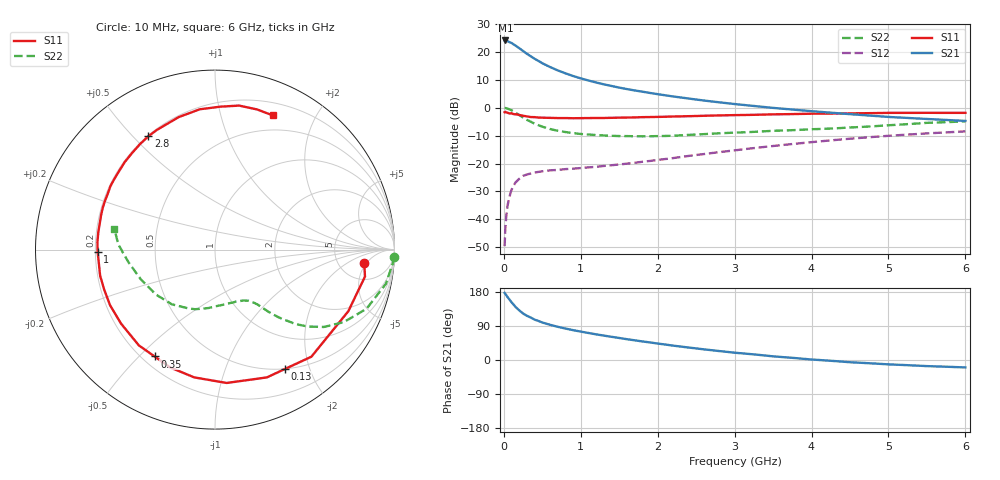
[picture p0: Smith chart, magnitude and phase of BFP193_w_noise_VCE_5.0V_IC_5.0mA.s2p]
! Infineon Technologies  Discrete & RF Semiconductors
! BFP193
! VCE =  5.0 V,  IC =  5.0 mA
! Common Emitter S-Parameters:  Jan 2017
# GHz  S  MA  R  50
!  f  S11  S21  S12  S22
! GHz  MAG  ANG  MAG  ANG  MAG  ANG  MAG  ANG
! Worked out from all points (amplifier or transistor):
!   77 points, 10 MHz to 6 GHz, reference 50 ohm
!   highest |S21| = 24.2 dB at 20 MHz (marker M1)
!   |S21| within 3 dB of that: start of sweep to 211.4 MHz
!   unconditionally stable (mu >= 1): 1.402 GHz to 2.651 GHz
!   at 130 MHz: K = 0.14, MSG = 25.3 dB, |S12| = -27.8 dB
!   at 2.2 GHz: K = 1.06, MAG = 9.5 dB, |S12| = -18.0 dB
!   at 6 GHz: K = 0.86, MSG = 1.9 dB, |S12| = -8.4 dB
!   lowest NFmin = 0.92 dB at 450 MHz
!   S11 on the Smith chart (normalised r, x): 10 MHz: 8.94, -4.37; 130 MHz: 0.50, -1.63; 350 MHz: 0.25, -0.56; 1 GHz: 0.21, -0.01; 2.8 GHz: 0.20, +0.55; 6 GHz: 0.33, +1.47
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0.01  0.8347 -5.1  16.02 177.1  0.0033 89.2  1 -2.3
0.02  0.8491 -10.2  16.2 174.3  0.0072 88.6  0.9929 -4.6
0.05  0.8183 -24.8  15.67 165.5  0.018 77.4  0.9712 -11.3
0.1  0.8028 -48.0  14.62 152.2  0.0339 66.4  0.9065 -21.3
0.13  0.7708 -59.7  13.67 145.4  0.0408 60.0  0.8544 -26.0
0.15  0.7685 -67.9  13.15 140.4  0.0456 56.9  0.8232 -29.4
0.2  0.7459 -85.0  11.78 131.0  0.0534 50.5  0.7442 -35.4
0.25  0.7213 -99.2  10.48 122.7  0.0602 44.9  0.6712 -39.7
0.3  0.7027 -110.8  9.333 116.6  0.0637 40.9  0.61 -42.8
0.35  0.684 -119.5  8.433 112.1  0.0664 38.6  0.5647 -44.6
0.4  0.6817 -128.5  7.599 106.5  0.0692 36.4  0.5201 -46.7
0.5  0.6664 -141.8  6.326 99.0  0.0728 33.3  0.4598 -49.2
0.6  0.6618 -152.1  5.415 92.9  0.0757 32.2  0.4177 -50.8
1  0.654 -178.8  3.386 74.9  0.0832 33.9  0.3399 -56.9
1.1  0.6564 176.2  3.098 71.3  0.0855 35.0  0.3327 -58.8
1.5  0.6674 159.6  2.309 58.1  0.0965 39.4  0.3119 -68.4
2.1  0.6931 139.2  1.68 40.8  0.1209 44.8  0.3134 -86.7
2.8  0.7324 120.5  1.258 23.6  0.1605 46.2  0.3503 -108.6
3.1  0.7442 113.6  1.135 17.5  0.1796 45.1  0.3635 -117.3
4.1  0.7871 94.5  0.851 -0.0  0.2498 37.9  0.4176 -146.0
5.1  0.8129 79.1  0.676 -12.4  0.3216 26.7  0.4963 -174.2
6  0.814 66.8  0.583 -19.6  0.3785 15.6  0.573 168.4
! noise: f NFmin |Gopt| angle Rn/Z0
0.45  0.92  0.28  104  0.1
0.9  1.03  0.39  150  0.07
1.9  1.97  0.61  -151  0.13
2.4  2.42  0.67  -131  0.35
